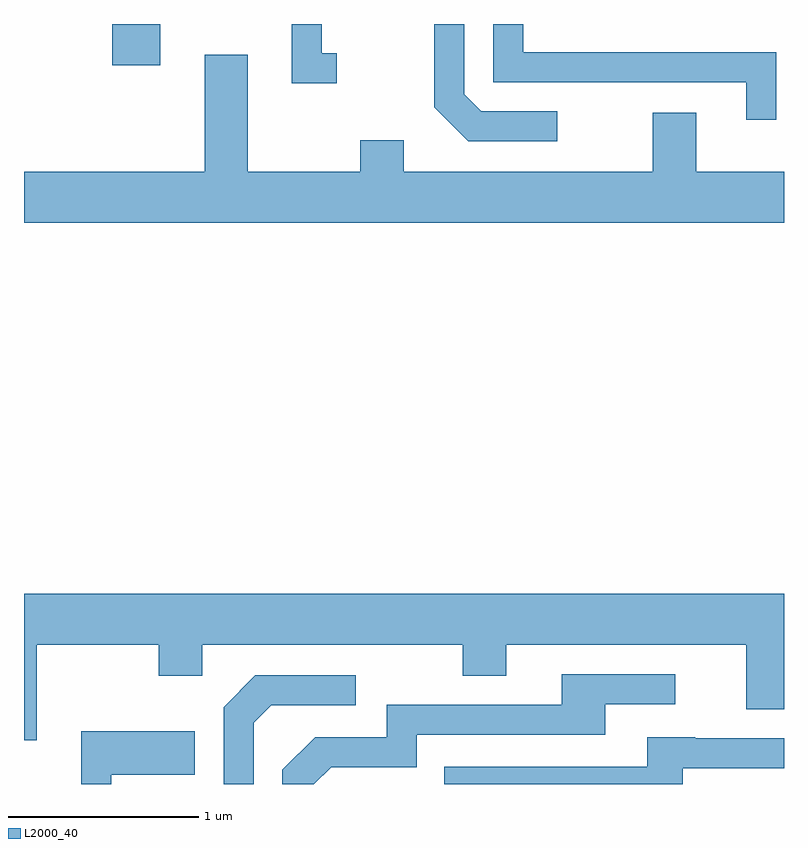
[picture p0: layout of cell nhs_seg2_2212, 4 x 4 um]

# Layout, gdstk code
import gdstk
lib = gdstk.Library(unit=1e-6, precision=1e-09)
def R(c, l, rs):  # rectangles x0, y0, x1, y1
    for r in rs: c.add(gdstk.rectangle(r[:2], r[2:], *l))
def P(c, l, *ps):  # polygons
    for p in ps: c.add(gdstk.Polygon(p, *l))
L2000_40 = (2000, 40)

nhs_seg2_2212 = lib.new_cell('nhs_seg2_2212')
R(nhs_seg2_2212, L2000_40, [(250.076,1053.586,250.329,1053.802)])
P(nhs_seg2_2212, L2000_40, [(253.569,1053.654),(252.239,1053.654),(252.239,1053.802),(252.081,1053.802),(252.081,1053.496),(253.411,1053.496),(253.411,1053.298),(253.569,1053.298)],
  [(251.258,1053.649),(251.179,1053.649),(251.179,1053.802),(251.021,1053.802),(251.021,1053.491),(251.258,1053.491)],
  [(252.418,1053.344),(252.017,1053.344),(251.929,1053.432),(251.929,1053.802),(251.771,1053.802),(251.771,1053.364),(251.949,1053.186),(252.418,1053.186)],
  [(253.611,1053.024),(253.149,1053.024),(253.149,1053.334),(252.921,1053.334),(252.921,1053.024),(251.609,1053.024),(251.609,1053.189),(251.381,1053.189),(251.381,1053.024),(250.789,1053.024),(250.789,1053.639),(250.561,1053.639),(250.561,1053.024),(249.611,1053.024),(249.611,1052.756),(253.611,1052.756)],
  [(249.679,1050.536),(250.321,1050.536),(250.321,1050.371),(250.549,1050.371),(250.549,1050.536),(251.921,1050.536),(251.921,1050.371),(252.149,1050.371),(252.149,1050.536),(253.411,1050.536),(253.411,1050.196),(253.611,1050.196),(253.611,1050.804),(249.611,1050.804),(249.611,1050.031),(249.679,1050.031)],
  [(251.227,1049.891),(251.679,1049.891),(251.679,1050.061),(252.669,1050.061),(252.669,1050.221),(253.038,1050.221),(253.038,1050.379),(252.441,1050.379),(252.441,1050.219),(251.521,1050.219),(251.521,1050.049),(251.144,1050.049),(250.971,1049.877),(250.971,1049.802),(251.137,1049.802)],
  [(250.819,1050.124),(250.912,1050.216),(251.358,1050.216),(251.358,1050.374),(250.829,1050.374),(250.661,1050.207),(250.661,1049.802),(250.819,1049.802)],
  [(250.069,1049.851),(250.509,1049.851),(250.509,1050.079),(249.911,1050.079),(249.911,1049.802),(250.069,1049.802)],
  [(253.079,1049.886),(253.611,1049.886),(253.611,1050.044),(253.145,1050.044),(253.145,1050.049),(252.891,1050.049),(252.891,1049.894),(251.823,1049.894),(251.823,1049.802),(253.079,1049.802)])

lib.write_gds('nhs_seg2_2212.gds')
